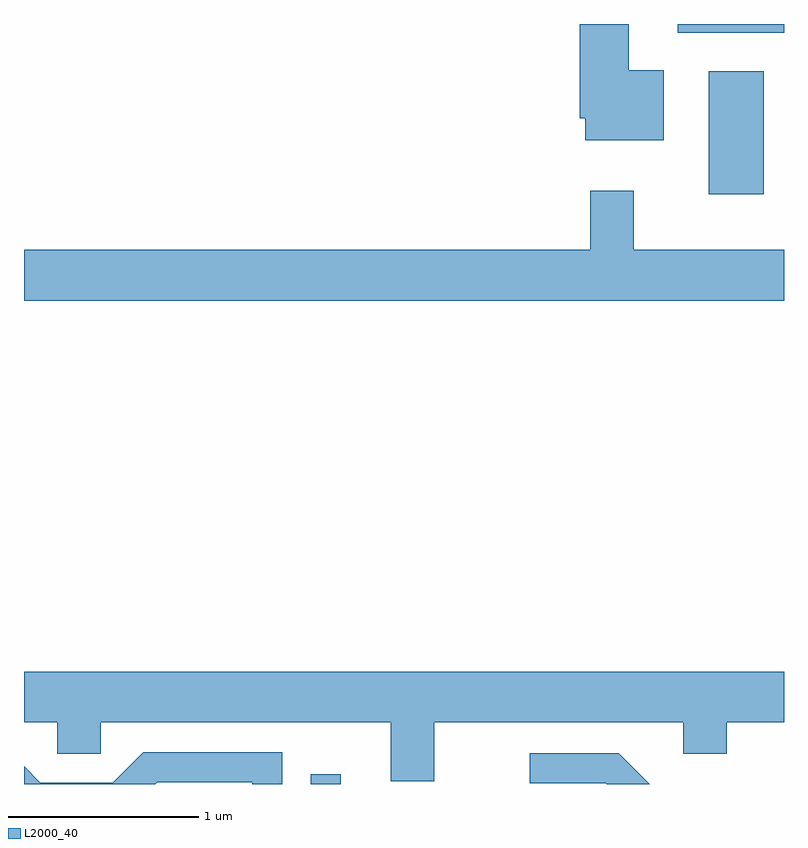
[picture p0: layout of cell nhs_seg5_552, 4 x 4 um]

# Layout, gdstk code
import gdstk
lib = gdstk.Library(unit=1e-6, precision=1e-09)
def R(c, l, rs):  # rectangles x0, y0, x1, y1
    for r in rs: c.add(gdstk.rectangle(r[:2], r[2:], *l))
def P(c, l, *ps):  # polygons
    for p in ps: c.add(gdstk.Polygon(p, *l))
L2000_40 = (2000, 40)

nhs_seg5_552 = lib.new_cell('nhs_seg5_552')
R(nhs_seg5_552, L2000_40, [(203.121,1412.072,203.279,1412.123), (205.216,1415.176,205.504,1415.824), (205.051,1416.026,205.611,1416.072)])
P(nhs_seg5_552, L2000_40, [(204.979,1415.829),(204.794,1415.829),(204.794,1416.072),(204.536,1416.072),(204.536,1415.576),(204.566,1415.576),(204.566,1415.461),(204.979,1415.461)],
  [(205.611,1414.884),(204.819,1414.884),(204.819,1415.194),(204.591,1415.194),(204.591,1414.884),(201.611,1414.884),(201.611,1414.616),(205.611,1414.616)],
  [(203.769,1412.396),(205.081,1412.396),(205.081,1412.231),(205.309,1412.231),(205.309,1412.396),(205.611,1412.396),(205.611,1412.664),(201.611,1412.664),(201.611,1412.396),(201.786,1412.396),(201.786,1412.231),(202.014,1412.231),(202.014,1412.396),(203.541,1412.396),(203.541,1412.086),(203.769,1412.086)],
  [(202.312,1412.081),(202.811,1412.081),(202.811,1412.072),(202.969,1412.072),(202.969,1412.239),(202.239,1412.239),(202.079,1412.079),(201.697,1412.079),(201.611,1412.165),(201.611,1412.072),(202.303,1412.072)],
  [(204.742,1412.234),(204.273,1412.234),(204.273,1412.076),(204.674,1412.076),(204.678,1412.072),(204.904,1412.072)])

lib.write_gds('nhs_seg5_552.gds')
